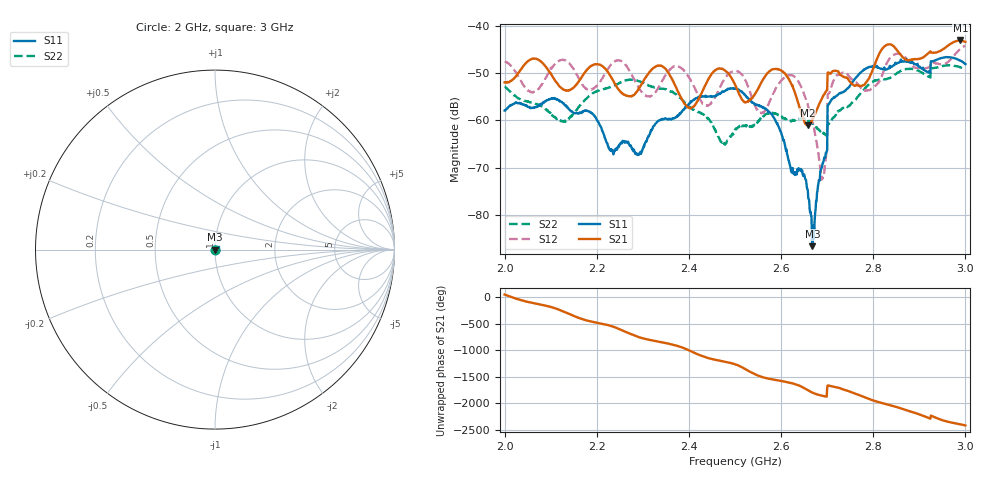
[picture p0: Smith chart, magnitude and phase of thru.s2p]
!Created with skrf (http://scikit-rf.org).
# GHz S RI R 50.0
!freq ReS11 ImS11 ReS21 ImS21 ReS12 ImS12 ReS22 ImS22
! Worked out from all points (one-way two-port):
!   1001 points, 2 GHz to 3 GHz, reference 50 ohm
!   highest |S21| = -43.11 dB at 2.989 GHz (marker M1); lowest = -61.1 dB at 2.658 GHz (marker M2)
!   lowest |S11| = -86.6 dB at 2.668 GHz (marker M3), VSWR 1.00, Z = 50 - j0.00456 ohm
!   |S11| at or under -10 dB: start of sweep to end of sweep
!   |S22| runs from -65.2 to -48.3 dB; largest |S21 - S12| = 0.0067
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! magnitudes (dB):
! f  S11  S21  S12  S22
! 2 GHz  -57.9  -52.0  -47.5  -52.9
! 2.057 GHz  -57.4  -47.1  -54.0  -56.2
! 2.123 GHz  -56.0  -53.2  -47.2  -60.2
! 2.167 GHz  -58.5  -50.9  -52.2  -56.5
! 2.206 GHz  -60.9  -48.2  -52.0  -53.6
! 2.247 GHz  -65.4  -53.4  -47.3  -52.2
! 2.289 GHz  -67.4  -53.6  -52.7  -51.6
! 2.334 GHz  -60.1  -48.5  -53.0  -53.3
! 2.401 GHz  -56.5  -57.3  -51.0  -57.2
! 2.44 GHz  -55.0  -51.7  -56.8  -59.6
! 2.5 GHz  -53.3  -52.4  -49.6  -62.0
! 2.555 GHz  -57.1  -52.4  -58.4  -59.6
! 2.599 GHz  -62.4  -49.4  -51.7  -59.2
! 2.658 GHz  -74.8  -61.1  -56.7  -60.0
! 2.667 GHz  -85.1  -59.9  -59.8  -60.6
! 2.668 GHz  -86.6  -59.8  -60.4  -60.8
! 2.691 GHz  -69.0  -54.9  -72.0  -62.6
! 2.706 GHz  -56.2  -50.1  -53.9  -60.3
! 2.777 GHz  -49.6  -52.6  -53.5  -53.8
! 2.834 GHz  -49.0  -43.9  -47.1  -51.1
! 2.989 GHz  -47.4  -43.1  -44.9  -48.8
! 3 GHz  -48.1  -43.4  -44.2  -49.3
